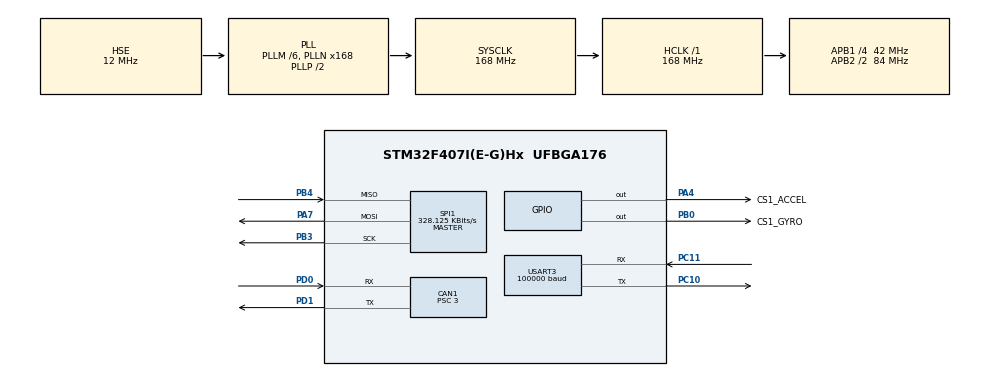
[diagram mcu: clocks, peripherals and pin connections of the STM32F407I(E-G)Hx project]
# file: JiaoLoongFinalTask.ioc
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CAN1.BS1=CAN_BS1_11TQ
CAN1.BS2=CAN_BS2_2TQ
CAN1.CalculateBaudRate=1000000
CAN1.CalculateTimeBit=1000
CAN1.CalculateTimeQuantum=71.42857142857143
CAN1.Prescaler=3
Dma.Request0=USART3_RX
Dma.USART3_RX.0.Direction=DMA_PERIPH_TO_MEMORY
Dma.USART3_RX.0.FIFOMode=DMA_FIFOMODE_DISABLE
Dma.USART3_RX.0.Instance=DMA1_Stream1
Dma.USART3_RX.0.MemDataAlignment=DMA_MDATAALIGN_BYTE
Dma.USART3_RX.0.MemInc=DMA_MINC_ENABLE
Dma.USART3_RX.0.Mode=DMA_NORMAL
Dma.USART3_RX.0.PeriphDataAlignment=DMA_PDATAALIGN_BYTE
Dma.USART3_RX.0.PeriphInc=DMA_PINC_DISABLE
Dma.USART3_RX.0.Priority=DMA_PRIORITY_LOW
FREERTOS.Tasks01=defaultTask,24,128,StartDefaultTask,Default,NULL,Dynamic,NULL,NULL
IWDG.Prescaler=IWDG_PRESCALER_16
IWDG.Reload=3999
Mcu.Family=STM32F4
Mcu.Name=STM32F407I(E-G)Hx
Mcu.Package=UFBGA176
NVIC.CAN1_RX0_IRQn=true\:7\:0\:true\:false\:true\:true\:true\:true\:true
NVIC.DMA1_Stream1_IRQn=true\:5\:0\:false\:false\:true\:true\:false\:true\:true
NVIC.PriorityGroup=NVIC_PRIORITYGROUP_4
NVIC.SPI1_IRQn=true\:7\:0\:true\:false\:true\:true\:true\:true\:true
NVIC.TIM6_DAC_IRQn=true\:5\:0\:false\:false\:true\:true\:true\:true\:true
NVIC.TIM7_IRQn=true\:15\:0\:false\:false\:true\:false\:false\:true\:true
NVIC.TimeBase=TIM7_IRQn
NVIC.TimeBaseIP=TIM7
NVIC.USART3_IRQn=true\:6\:0\:true\:false\:true\:true\:true\:true\:true
PA13.Mode=Serial_Wire
PA13.Signal=SYS_JTMS-SWDIO
PA14.Mode=Serial_Wire
PA14.Signal=SYS_JTCK-SWCLK
PA4.GPIO_Label=CS1_ACCEL
PA4.GPIO_PuPd=GPIO_PULLUP
PA4.GPIO_Speed=GPIO_SPEED_FREQ_HIGH
PA4.PinState=GPIO_PIN_SET
PA4.Signal=GPIO_Output
PA7.Mode=Full_Duplex_Master
PA7.Signal=SPI1_MOSI
PB0.GPIO_Label=CS1_GYRO
PB0.GPIO_ModeDefaultOutputPP=GPIO_MODE_OUTPUT_PP
PB0.GPIO_PuPd=GPIO_PULLUP
PB0.GPIO_Speed=GPIO_SPEED_FREQ_HIGH
PB0.PinState=GPIO_PIN_SET
PB0.Signal=GPIO_Output
PB3.Mode=Full_Duplex_Master
PB3.Signal=SPI1_SCK
PB4.Mode=Full_Duplex_Master
PB4.Signal=SPI1_MISO
PC10.Mode=Asynchronous
PC10.Signal=USART3_TX
PC11.Mode=Asynchronous
PC11.Signal=USART3_RX
PD0.Mode=CAN_Activate
PD0.Signal=CAN1_RX
PD1.Mode=CAN_Activate
PD1.Signal=CAN1_TX
PH0-OSC_IN.Mode=HSE-External-Oscillator
PH0-OSC_IN.Signal=RCC_OSC_IN
PH1-OSC_OUT.Mode=HSE-External-Oscillator
PH1-OSC_OUT.Signal=RCC_OSC_OUT
ProjectManager.HeapSize=0x200
ProjectManager.StackSize=0x400
ProjectManager.TargetToolchain=CMake
RCC.48MHZClocksFreq_Value=84000000
RCC.AHBFreq_Value=168000000
RCC.APB1CLKDivider=RCC_HCLK_DIV4
RCC.APB1Freq_Value=42000000
RCC.APB1TimFreq_Value=84000000
RCC.APB2CLKDivider=RCC_HCLK_DIV2
RCC.APB2Freq_Value=84000000
RCC.APB2TimFreq_Value=168000000
RCC.CortexFreq_Value=168000000
RCC.HCLKFreq_Value=168000000
RCC.HSE_VALUE=12000000
RCC.HSI_VALUE=16000000
RCC.LSE_VALUE=32768
RCC.PLLM=6
RCC.PLLN=168
RCC.PLLSourceVirtual=RCC_PLLSOURCE_HSE
RCC.SYSCLKFreq_VALUE=168000000
RCC.SYSCLKSource=RCC_SYSCLKSOURCE_PLLCLK
RCC.VCOOutputFreq_Value=336000000
SPI1.BaudRatePrescaler=SPI_BAUDRATEPRESCALER_256
SPI1.CLKPhase=SPI_PHASE_2EDGE
SPI1.CLKPolarity=SPI_POLARITY_HIGH
SPI1.CalculateBaudRate=328.125 KBits/s
SPI1.Direction=SPI_DIRECTION_2LINES
SPI1.Mode=SPI_MODE_MASTER
SPI1.VirtualType=VM_MASTER
TIM6.Period=9999
TIM6.Prescaler=1799
USART3.BaudRate=100000
USART3.Parity=PARITY_EVEN
USART3.VirtualMode=VM_ASYNC
USART3.WordLength=WORDLENGTH_9B
VP_FREERTOS_VS_CMSIS_V2.Mode=CMSIS_V2
VP_IWDG_VS_IWDG.Mode=IWDG_Activate
VP_SYS_VS_tim7.Mode=TIM7
VP_TIM6_VS_ClockSourceINT.Mode=Enable_Timer
board=custom

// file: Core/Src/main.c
/* USER CODE BEGIN Header */
/**
  ******************************************************************************
  * @file           : main.c
  * @brief          : Main program body
  ******************************************************************************
  * @attention
  *
  * Copyright (c) 2025 STMicroelectronics.
  * All rights reserved.
  *
  * This software is licensed under terms that can be found in the LICENSE file
  * in the root directory of this software component.
  * If no LICENSE file comes with this software, it is provided AS-IS.
  *
  ******************************************************************************
  */
/* USER CODE END Header */
#include "main.h"
#include "cmsis_os.h"
#include "can.h"
#include "dma.h"
#include "iwdg.h"
#include "spi.h"
#include "tim.h"
#include "usart.h"
#include "gpio.h"

/* USER CODE BEGIN Includes */
#include "user_tasks.h"
#include "bmi088.h"
/* USER CODE END Includes */

void SystemClock_Config(void);
void MX_FREERTOS_Init(void);

/* USER CODE BEGIN 0 */
uint8_t rx_data[8] = {0x00,0x00,0x00,0x00,0x00,0x00,0x00,0x00};
uint8_t tx_data[8] = {0x00,0x00,0x00,0x00,0x00,0x00,0x00,0x00};
float target_angle_pitch = 5;
float target_angle_yaw = 0;
uint8_t rx_buffer[18];

uint32_t can_tx_mail_box_;
CAN_RxHeaderTypeDef rx_header;
CAN_TxHeaderTypeDef tx_header = {
  .StdId = 0x1FE,
  .ExtId = 0,
  .IDE = CAN_ID_STD,
  .RTR = CAN_RTR_DATA,
  .DLC = 8,
  .TransmitGlobalTime = DISABLE
};

CAN_FilterTypeDef filter_config = {
  .FilterIdHigh = 0x0000,
  .FilterIdLow = 0x0000,
  .FilterMaskIdHigh = 0x0000,
  .FilterMaskIdLow = 0x0000,
  .FilterFIFOAssignment = CAN_FILTER_FIFO0,
  .FilterBank = 0,
  .FilterMode = CAN_FILTERMODE_IDMASK,
  .FilterScale = CAN_FILTERSCALE_32BIT,
  .FilterActivation = ENABLE
};
/* USER CODE END 0 */

int main(void)
{

  /* MCU Configuration--------------------------------------------------------*/

  /* Reset of all peripherals, Initializes the Flash interface and the Systick. */
  HAL_Init();

  /* Configure the system clock */
  SystemClock_Config();

  /* Initialize all configured peripherals */
  MX_GPIO_Init();
  MX_DMA_Init();
  MX_CAN1_Init();
  MX_SPI1_Init();
  MX_USART3_UART_Init();
  MX_IWDG_Init();
  MX_TIM6_Init();
  /* USER CODE BEGIN 2 */
  HAL_CAN_ConfigFilter(&hcan1, &filter_config);
  HAL_CAN_Start(&hcan1);
  HAL_CAN_ActivateNotification(&hcan1, CAN_IT_RX_FIFO0_MSG_PENDING);
  user_tasks_init();
  bmi088_init();
  HAL_UARTEx_ReceiveToIdle_DMA(&huart3,rx_buffer, 18);
  HAL_TIM_Base_Start_IT(&htim6);
  /* USER CODE END 2 */

  /* Init scheduler */
  osKernelInitialize();  /* Call init function for freertos objects (in cmsis_os2.c) */
  MX_FREERTOS_Init();

  /* Start scheduler */
  osKernelStart();

  /* We should never get here as control is now taken by the scheduler */

  /* Infinite loop */
  while (1)
  {

  }
}

void SystemClock_Config(void)
{
  RCC_OscInitTypeDef RCC_OscInitStruct = {0};
  RCC_ClkInitTypeDef RCC_ClkInitStruct = {0};

  /** Configure the main internal regulator output voltage
  */
  __HAL_RCC_PWR_CLK_ENABLE();
  __HAL_PWR_VOLTAGESCALING_CONFIG(PWR_REGULATOR_VOLTAGE_SCALE1);

  /** Initializes the RCC Oscillators according to the specified parameters
  * in the RCC_OscInitTypeDef structure.
  */
  RCC_OscInitStruct.OscillatorType = RCC_OSCILLATORTYPE_LSI|RCC_OSCILLATORTYPE_HSE;
  RCC_OscInitStruct.HSEState = RCC_HSE_ON;
  RCC_OscInitStruct.LSIState = RCC_LSI_ON;
  RCC_OscInitStruct.PLL.PLLState = RCC_PLL_ON;
  RCC_OscInitStruct.PLL.PLLSource = RCC_PLLSOURCE_HSE;
  RCC_OscInitStruct.PLL.PLLM = 6;
  RCC_OscInitStruct.PLL.PLLN = 168;
  RCC_OscInitStruct.PLL.PLLP = RCC_PLLP_DIV2;
  RCC_OscInitStruct.PLL.PLLQ = 4;
  if (HAL_RCC_OscConfig(&RCC_OscInitStruct) != HAL_OK)
  {
    Error_Handler();
  }

  /** Initializes the CPU, AHB and APB buses clocks
  */
  RCC_ClkInitStruct.ClockType = RCC_CLOCKTYPE_HCLK|RCC_CLOCKTYPE_SYSCLK
                              |RCC_CLOCKTYPE_PCLK1|RCC_CLOCKTYPE_PCLK2;
  RCC_ClkInitStruct.SYSCLKSource = RCC_SYSCLKSOURCE_PLLCLK;
  RCC_ClkInitStruct.AHBCLKDivider = RCC_SYSCLK_DIV1;
  RCC_ClkInitStruct.APB1CLKDivider = RCC_HCLK_DIV4;
  RCC_ClkInitStruct.APB2CLKDivider = RCC_HCLK_DIV2;

  if (HAL_RCC_ClockConfig(&RCC_ClkInitStruct, FLASH_LATENCY_5) != HAL_OK)
  {
    Error_Handler();
  }
}

void Error_Handler(void)
{
  __disable_irq();
  while (1)
  {
  }
}
